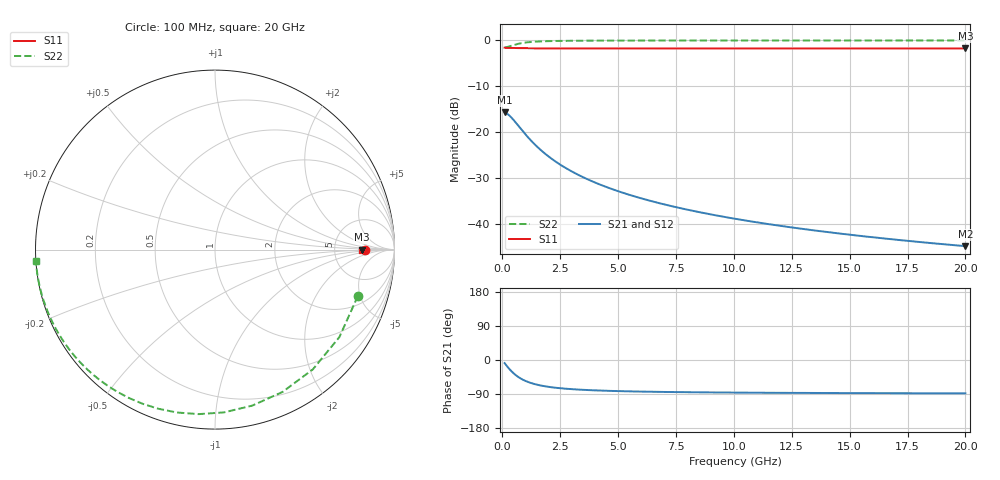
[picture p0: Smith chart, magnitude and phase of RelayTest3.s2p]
! File created by SignalIntegrity v1.2.1: Signal and Power Integrity Tools
! https://github.com/TeledyneLeCroy/SignalIntegrity
# MHz S MA R 50.0
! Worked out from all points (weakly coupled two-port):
!   200 points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, 100 MHz to 20 GHz, reference 50 ohm
!   highest |S21| = -15.65 dB at 100 MHz (marker M1); lowest = -44.8 dB at 20 GHz (marker M2)
!   lowest |S11| = -1.7 dB at 20 GHz (marker M3), VSWR 10.00, Z = 500 - j1.59 ohm
!   |S11| at or under -10 dB: nowhere
!   |S22| runs from -1.5 to 0.0 dB; largest |S21 - S12| = 0
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100  0.833 -0.1  0.165 -8.2  0.165 -8.2  0.837 -18.0
200  0.8322 -0.3  0.1602 -16.1  0.1602 -16.1  0.8473 -35.1
300  0.831 -0.4  0.153 -23.4  0.153 -23.4  0.8617 -50.8
400  0.8296 -0.5  0.1444 -29.9  0.1444 -29.9  0.8778 -64.6
500  0.8282 -0.5  0.1353 -35.8  0.1353 -35.8  0.8937 -76.6
600  0.8269 -0.5  0.1261 -40.8  0.1261 -40.8  0.9083 -86.9
700  0.8257 -0.5  0.1174 -45.2  0.1174 -45.2  0.9211 -95.6
800  0.8247 -0.5  0.1093 -49.0  0.1093 -49.0  0.932 -103.2
900  0.8239 -0.5  0.1018 -52.3  0.1018 -52.3  0.9413 -109.6
1100  0.8225 -0.5  0.08898 -57.7  0.08898 -57.7  0.9555 -120.0
1300  0.8216 -0.4  0.07853 -61.9  0.07853 -61.9  0.9655 -127.9
1500  0.8209 -0.4  0.07003 -65.2  0.07003 -65.2  0.9727 -134.1
1700  0.8204 -0.4  0.06303 -67.8  0.06303 -67.8  0.9779 -139.0
2100  0.8197 -0.3  0.05233 -71.7  0.05233 -71.7  0.9848 -146.3
2700  0.8191 -0.3  0.04152 -75.6  0.04152 -75.6  0.9905 -153.5
3500  0.8188 -0.2  0.03244 -78.8  0.03244 -78.8  0.9942 -159.4
4900  0.8185 -0.1  0.02339 -81.9  0.02339 -81.9  0.997 -165.2
6800  0.8183 -0.1  0.01693 -84.2  0.01693 -84.2  0.9984 -169.3
10100  0.8183 -0.1  0.01143 -86.1  0.01143 -86.1  0.9993 -172.8
13400  0.8182 -0.1  0.008626 -87.0  0.008626 -87.0  0.9996 -174.6
16700  0.8182 -0.0  0.006925 -87.6  0.006925 -87.6  0.9997 -175.6
20000  0.8182 -0.0  0.005784 -88.0  0.005784 -88.0  0.9998 -176.4
